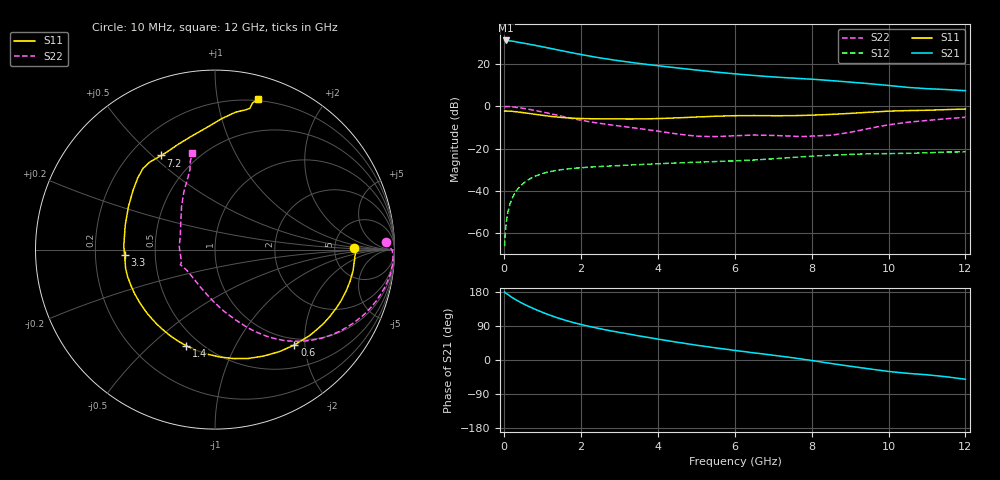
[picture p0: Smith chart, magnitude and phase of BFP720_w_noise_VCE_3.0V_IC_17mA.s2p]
! Infineon Technologies  Discrete & RF Semiconductors
! BFP720
! VCE =  3.0 V,  IC =  17 mA
! Common Emitter S-Parameters:  Aug 2012
# GHz  S  MA  R  50
!  f  S11  S21  S12  S22
! GHz  MAG  ANG  MAG  ANG  MAG  ANG  MAG  ANG
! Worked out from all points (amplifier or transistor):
!   105 points, 10 MHz to 12 GHz, reference 50 ohm
!   highest |S21| = 31.2 dB at 50 MHz (marker M1)
!   |S21| within 3 dB of that: start of sweep to 996.4 MHz
!   unconditionally stable (mu >= 1): start of sweep to 12.98 MHz; 4.659 GHz to 10.98 GHz
!   at 300 MHz: K = 0.14, MSG = 35.4 dB, |S12| = -40.3 dB
!   at 3.6 GHz: K = 0.85, MSG = 23.8 dB, |S12| = -27.4 dB
!   at 12 GHz: K = 0.77, MSG = 14.4 dB, |S12| = -21.4 dB
!   lowest NFmin = 0.67 dB at 450 MHz
!   S11 on the Smith chart (normalised r, x): 10 MHz: 7.84, +0.26; 600 MHz: 0.88, -1.79; 1.4 GHz: 0.42, -0.66; 3.3 GHz: 0.33, -0.03; 7.2 GHz: 0.32, +0.53; 12 GHz: 0.19, +1.31
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0.01  0.7741 0.5  35.99 179.8  0.0005 48.9  0.9534 2.7
0.02  0.7824 -1.5  36.06 177.8  0.0008 92.8  0.9878 -0.3
0.05  0.7794 -4.2  36.2 175.8  0.0017 81.7  0.9927 -2.2
0.15  0.7728 -13.2  35.47 168.8  0.005 83.1  0.9864 -7.8
0.3  0.7497 -25.9  33.69 159.1  0.0097 76.4  0.9549 -15.3
0.45  0.7214 -38.2  31.83 150.7  0.014 70.9  0.9152 -22.2
0.6  0.6916 -50.2  30.08 143.2  0.0179 65.4  0.8687 -28.5
0.8  0.6516 -65.6  27.81 134.0  0.0224 59.0  0.8051 -36.2
1  0.6161 -80.2  25.59 125.6  0.0261 53.2  0.7379 -43.2
1.2  0.5843 -94.0  23.53 117.9  0.0289 48.2  0.6736 -49.3
1.4  0.5593 -106.5  21.59 110.9  0.0313 44.1  0.6136 -54.7
1.7  0.5323 -123.2  19.02 101.6  0.0338 39.1  0.5346 -61.5
2.1  0.5151 -140.3  16.21 91.4  0.0362 34.6  0.4549 -68.8
2.6  0.5094 -156.7  13.55 80.3  0.0385 30.8  0.3848 -76.4
3.3  0.5047 -176.6  10.98 67.5  0.0414 27.5  0.3177 -86.2
4.1  0.5205 162.7  8.94 53.5  0.0446 24.8  0.2526 -100.7
5  0.5631 144.3  7.237 39.0  0.0481 22.0  0.1998 -127.4
6.1  0.6048 130.7  5.785 24.0  0.0523 20.0  0.2047 -153.2
7.2  0.6043 119.8  4.853 10.0  0.0597 18.5  0.2033 -158.5
8.5  0.6489 100.8  4.081 -9.1  0.0702 11.1  0.2083 158.1
10.5  0.7973 77.6  2.821 -35.2  0.0779 -2.1  0.4238 111.1
12  0.8696 74.1  2.359 -50.8  0.0847 -11.1  0.5554 103.2
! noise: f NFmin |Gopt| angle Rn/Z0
0.45  0.67  0.19  1  0.39
1.8  0.74  0.2  11  0.14
2.4  0.79  0.19  17  0.43
5.5  1.01  0.11  -46  0.18
10  1.18  0.45  -73  0.29
